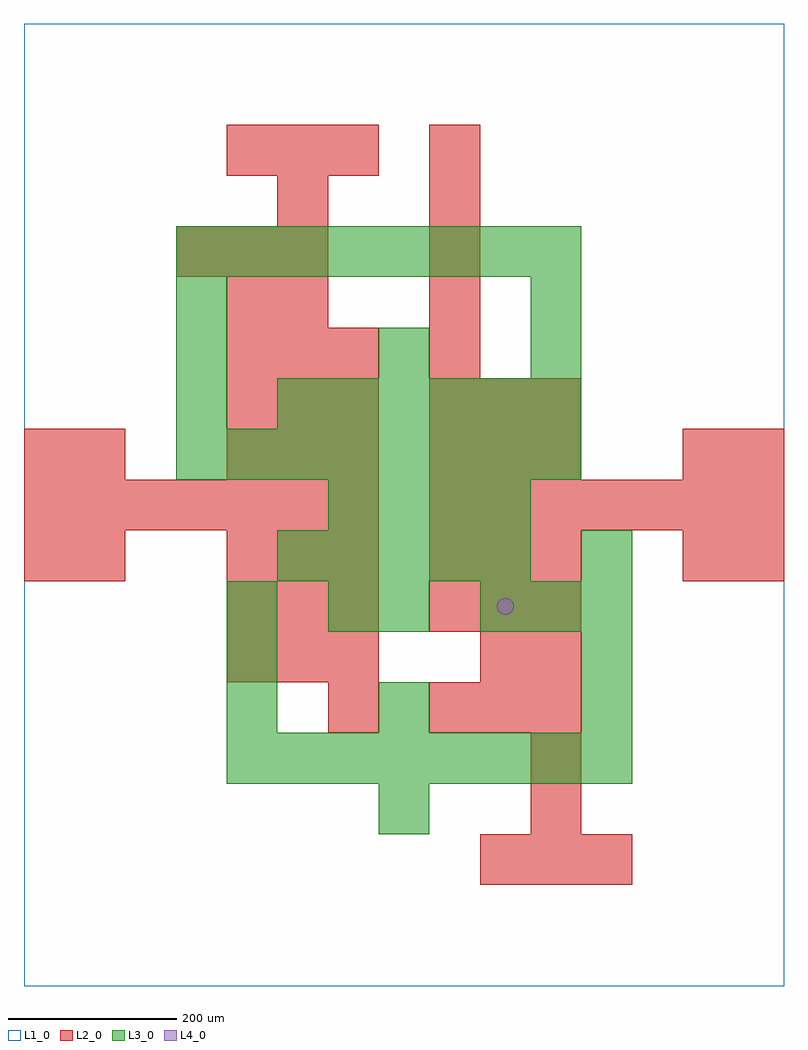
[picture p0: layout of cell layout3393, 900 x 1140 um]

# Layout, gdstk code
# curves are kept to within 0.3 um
import gdstk
lib = gdstk.Library(unit=1e-6, precision=1e-09)
def R(c, l, rs):  # rectangles x0, y0, x1, y1
    for r in rs: c.add(gdstk.rectangle(r[:2], r[2:], *l))
def A(c, l, x, y, w, h, nx, ny, dx, dy):  # array of equal rectangles
    R(c, l, [(x+i*dx, y+j*dy, x+i*dx+w, y+j*dy+h) for i in range(nx) for j in range(ny)])
def P(c, l, *ps):  # polygons
    for p in ps: c.add(gdstk.Polygon(p, *l))
L1_0 = (1, 0)
L2_0 = (2, 0)
L3_0 = (3, 0)
L4_0 = (4, 0)

layout3393 = lib.new_cell('layout3393')
R(layout3393, L1_0, [(0,0,900,1140)])
A(layout3393, L2_0, 540, 120, 60, 60, 3, 1, 60, 0)
A(layout3393, L2_0, 480, 300, 60, 60, 3, 2, 60, 120)
A(layout3393, L2_0, 240, 360, 60, 60, 3, 3, 60, 60)
A(layout3393, L2_0, 480, 480, 60, 60, 3, 2, 60, 120)
A(layout3393, L2_0, 0, 540, 60, 60, 7, 1, 60, 0)
A(layout3393, L2_0, 480, 540, 60, 60, 7, 1, 60, 0)
A(layout3393, L2_0, 240, 600, 60, 60, 3, 3, 60, 60)
A(layout3393, L2_0, 480, 660, 60, 60, 3, 1, 60, 0)
A(layout3393, L2_0, 480, 720, 60, 60, 1, 5, 0, 60)
A(layout3393, L2_0, 180, 840, 60, 60, 3, 1, 60, 0)
A(layout3393, L2_0, 240, 960, 60, 60, 3, 1, 60, 0)
R(layout3393, L2_0, [(600,180,660,240), (600,240,660,300), (360,300,420,360), (540,360,600,420), (600,360,660,420), (0,480,60,540), (60,480,120,540), (780,480,840,540), (840,480,900,540), (0,600,60,660), (60,600,120,660), (780,600,840,660), (840,600,900,660), (240,780,300,840), (300,780,360,840), (300,900,360,960)])
A(layout3393, L3_0, 420, 180, 60, 60, 1, 3, 0, 120)
A(layout3393, L3_0, 240, 240, 60, 60, 8, 1, 60, 0)
A(layout3393, L3_0, 240, 300, 60, 60, 1, 3, 0, 60)
A(layout3393, L3_0, 540, 420, 60, 60, 3, 1, 60, 0)
A(layout3393, L3_0, 300, 480, 60, 60, 5, 1, 60, 0)
A(layout3393, L3_0, 360, 540, 60, 60, 4, 1, 60, 0)
A(layout3393, L3_0, 180, 600, 60, 60, 8, 2, 60, 240)
A(layout3393, L3_0, 180, 660, 60, 60, 1, 3, 0, 60)
A(layout3393, L3_0, 300, 660, 60, 60, 6, 1, 60, 0)
R(layout3393, L3_0, [(660,300,720,360), (660,360,720,420), (360,420,420,480), (660,480,720,540), (420,720,480,780), (600,720,660,780), (600,780,660,840)])
P(layout3393, L4_0, [(580,450),(579.239,453.827),(577.071,457.071),(573.827,459.239),(570,460),(566.173,459.239),(562.929,457.071),(560.761,453.827),(560,450),(560.761,446.173),(562.929,442.929),(566.173,440.761),(570,440),(573.827,440.761),(577.071,442.929),(579.239,446.173)])

lib.write_gds('layout3393.gds')
